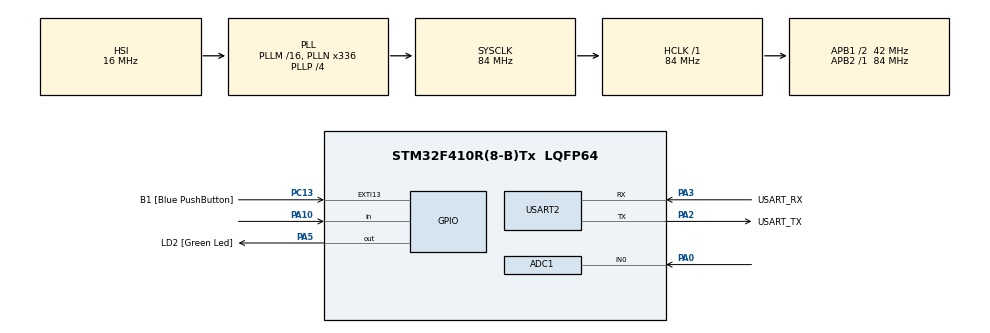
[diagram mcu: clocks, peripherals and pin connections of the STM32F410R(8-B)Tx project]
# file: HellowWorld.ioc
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ADC1.Channel-2\#ChannelRegularConversion=ADC_CHANNEL_0
ADC1.NbrOfConversionFlag=1
ADC1.Rank-2\#ChannelRegularConversion=1
ADC1.SamplingTime-2\#ChannelRegularConversion=ADC_SAMPLETIME_3CYCLES
ADC1.master=1
Mcu.Family=STM32F4
Mcu.Name=STM32F410R(8-B)Tx
Mcu.Package=LQFP64
NVIC.PriorityGroup=NVIC_PRIORITYGROUP_0
PA0-WKUP.Signal=ADCx_IN0
PA10.Signal=GPIO_Input
PA13.GPIO_Label=TMS
PA13.Mode=Serial_Wire
PA13.Signal=SYS_JTMS-SWDIO
PA14.GPIO_Label=TCK
PA14.Mode=Serial_Wire
PA14.Signal=SYS_JTCK-SWCLK
PA2.GPIO_Label=USART_TX
PA2.Mode=Asynchronous
PA2.Signal=USART2_TX
PA3.GPIO_Label=USART_RX
PA3.Mode=Asynchronous
PA3.Signal=USART2_RX
PA5.GPIO_Label=LD2 [Green Led]
PA5.Signal=GPIO_Output
PB3.GPIO_Label=SWO
PB3.Signal=SYS_JTDO-SWO
PC13-ANTI_TAMP.GPIO_Label=B1 [Blue PushButton]
PC13-ANTI_TAMP.GPIO_ModeDefaultEXTI=GPIO_MODE_IT_FALLING
PC13-ANTI_TAMP.Signal=GPXTI13
PC14-OSC32_IN.Mode=LSE-External-Oscillator
PC14-OSC32_IN.Signal=RCC_OSC32_IN
PC15-OSC32_OUT.Mode=LSE-External-Oscillator
PC15-OSC32_OUT.Signal=RCC_OSC32_OUT
PH0\ -\ OSC_IN.Mode=HSE-External-Clock-Source
PH0\ -\ OSC_IN.Signal=RCC_OSC_IN
PH1\ -\ OSC_OUT.Mode=HSE-External-Clock-Source
PH1\ -\ OSC_OUT.Signal=RCC_OSC_OUT
ProjectManager.HeapSize=0x200
ProjectManager.StackSize=0x400
ProjectManager.TargetToolchain=STM32CubeIDE
RCC.48MHZClocksFreq_Value=84000000
RCC.AHBFreq_Value=84000000
RCC.APB1CLKDivider=RCC_HCLK_DIV2
RCC.APB1Freq_Value=42000000
RCC.APB1TimFreq_Value=84000000
RCC.APB2Freq_Value=84000000
RCC.APB2TimFreq_Value=84000000
RCC.CortexFreq_Value=84000000
RCC.FLatency-AdvancedSettings=FLASH_LATENCY_2
RCC.HCLKFreq_Value=84000000
RCC.HSE_VALUE=8000000
RCC.HSI_VALUE=16000000
RCC.PLLN=336
RCC.PLLP=RCC_PLLP_DIV4
RCC.SYSCLKFreq_VALUE=84000000
RCC.SYSCLKSource=RCC_SYSCLKSOURCE_PLLCLK
RCC.VCOOutputFreq_Value=336000000
SH.ADCx_IN0.0=ADC1_IN0,IN0
TIM1.Period=65535 -1
TIM1.Prescaler=83
USART2.VirtualMode=VM_ASYNC
VP_TIM1_VS_ClockSourceINT.Mode=Internal
board=NUCLEO-F410RB

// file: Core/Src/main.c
/* USER CODE BEGIN Header */
/**
  ******************************************************************************
  * @file           : main.c
  * @brief          : Main program body
  ******************************************************************************
  * @attention
  *
  * Copyright (c) 2021 STMicroelectronics.
  * All rights reserved.
  *
  * This software is licensed under terms that can be found in the LICENSE file
  * in the root directory of this software component.
  * If no LICENSE file comes with this software, it is provided AS-IS.
  *
  ******************************************************************************
  */
/* USER CODE END Header */
#include "main.h"

ADC_HandleTypeDef hadc1;

TIM_HandleTypeDef htim1;

UART_HandleTypeDef huart2;

/* USER CODE BEGIN PV */
uint32_t m_sysclkRatio;
float calibration =  15.590576 + 7;
/* USER CODE END PV */

void SystemClock_Config(void);
static void MX_GPIO_Init(void);
static void MX_USART2_UART_Init(void);
static void MX_ADC1_Init(void);
static void MX_TIM1_Init(void);

/* USER CODE BEGIN 0 */
#ifdef __GNUC__
/* With GCC, small printf (option LD Linker->Libraries->Small printf
   set to 'Yes') calls __io_putchar() */
#define PUTCHAR_PROTOTYPE int __io_putchar(int ch)
#else
#define PUTCHAR_PROTOTYPE int fputc(int ch, FILE *f)
#endif /* __GNUC__ */

/* USER CODE END 0 */

int main(void)
{
  /* USER CODE BEGIN 1 */
	uint8_t TempSensorPresence = 0;
	int voltage = 0;
	float PhSensorVal = 0;
	uint32_t timeVal=0, timeVal2 = 0;
  /* USER CODE END 1 */

  /* MCU Configuration--------------------------------------------------------*/

  /* Reset of all peripherals, Initializes the Flash interface and the Systick. */
  HAL_Init();

  /* Configure the system clock */
  SystemClock_Config();

  /* Initialize all configured peripherals */
  MX_GPIO_Init();
  MX_USART2_UART_Init();
  MX_ADC1_Init();
  MX_TIM1_Init();
  /* USER CODE BEGIN 2 */
  printf("main handler \r\n");
  HAL_TIM_Base_Start(&htim1);
  /* USER CODE END 2 */

  /* Infinite loop */
  while (1)
  {

    /* USER CODE BEGIN 3 */
	  HAL_ADC_Start(&hadc1);
	  HAL_ADC_PollForConversion(&hadc1,100);
	  voltage = HAL_ADC_GetValue(&hadc1);
	  PhSensorVal = voltage * (5.0 / 1023.0);

	  printf("PhSensorVal = %d, %f \r\n",voltage , PhSensorVal);

	  __HAL_TIM_SET_COUNTER(&htim1, 0);

	  timeVal =  __HAL_TIM_GET_COUNTER(&htim1) * 1;
	  HAL_Delay(1);
	  timeVal2 =  __HAL_TIM_GET_COUNTER(&htim1) *1;
	  printf("timeVal after 1000ms = %ld \r\n",((timeVal2 -timeVal)) );
	  __HAL_TIM_SET_COUNTER(&htim1, 0);
	  timeVal =  __HAL_TIM_GET_COUNTER(&htim1) * 1;
	  HAL_Delay(1);
	  timeVal2 =  __HAL_TIM_GET_COUNTER(&htim1) * 1;
	  printf("timeVal after 100ms = %ld \r\n",((timeVal2 -timeVal)) );

	  HAL_Delay(1000);

  }
  /* USER CODE END 3 */
}

void SystemClock_Config(void)
{
  RCC_OscInitTypeDef RCC_OscInitStruct = {0};
  RCC_ClkInitTypeDef RCC_ClkInitStruct = {0};

  /** Configure the main internal regulator output voltage
  */
  __HAL_RCC_PWR_CLK_ENABLE();
  __HAL_PWR_VOLTAGESCALING_CONFIG(PWR_REGULATOR_VOLTAGE_SCALE1);
  /** Initializes the RCC Oscillators according to the specified parameters
  * in the RCC_OscInitTypeDef structure.
  */
  RCC_OscInitStruct.OscillatorType = RCC_OSCILLATORTYPE_HSI;
  RCC_OscInitStruct.HSIState = RCC_HSI_ON;
  RCC_OscInitStruct.HSICalibrationValue = RCC_HSICALIBRATION_DEFAULT;
  RCC_OscInitStruct.PLL.PLLState = RCC_PLL_ON;
  RCC_OscInitStruct.PLL.PLLSource = RCC_PLLSOURCE_HSI;
  RCC_OscInitStruct.PLL.PLLM = 16;
  RCC_OscInitStruct.PLL.PLLN = 336;
  RCC_OscInitStruct.PLL.PLLP = RCC_PLLP_DIV4;
  RCC_OscInitStruct.PLL.PLLQ = 4;
  RCC_OscInitStruct.PLL.PLLR = 2;
  if (HAL_RCC_OscConfig(&RCC_OscInitStruct) != HAL_OK)
  {
    Error_Handler();
  }
  /** Initializes the CPU, AHB and APB buses clocks
  */
  RCC_ClkInitStruct.ClockType = RCC_CLOCKTYPE_HCLK|RCC_CLOCKTYPE_SYSCLK
                              |RCC_CLOCKTYPE_PCLK1|RCC_CLOCKTYPE_PCLK2;
  RCC_ClkInitStruct.SYSCLKSource = RCC_SYSCLKSOURCE_PLLCLK;
  RCC_ClkInitStruct.AHBCLKDivider = RCC_SYSCLK_DIV1;
  RCC_ClkInitStruct.APB1CLKDivider = RCC_HCLK_DIV2;
  RCC_ClkInitStruct.APB2CLKDivider = RCC_HCLK_DIV1;

  if (HAL_RCC_ClockConfig(&RCC_ClkInitStruct, FLASH_LATENCY_2) != HAL_OK)
  {
    Error_Handler();
  }
}

static void MX_ADC1_Init(void)
{

  ADC_ChannelConfTypeDef sConfig = {0};

  /** Configure the global features of the ADC (Clock, Resolution, Data Alignment and number of conversion)
  */
  hadc1.Instance = ADC1;
  hadc1.Init.ClockPrescaler = ADC_CLOCK_SYNC_PCLK_DIV4;
  hadc1.Init.Resolution = ADC_RESOLUTION_12B;
  hadc1.Init.ScanConvMode = DISABLE;
  hadc1.Init.ContinuousConvMode = DISABLE;
  hadc1.Init.DiscontinuousConvMode = DISABLE;
  hadc1.Init.ExternalTrigConvEdge = ADC_EXTERNALTRIGCONVEDGE_NONE;
  hadc1.Init.ExternalTrigConv = ADC_SOFTWARE_START;
  hadc1.Init.DataAlign = ADC_DATAALIGN_RIGHT;
  hadc1.Init.NbrOfConversion = 1;
  hadc1.Init.DMAContinuousRequests = DISABLE;
  hadc1.Init.EOCSelection = ADC_EOC_SINGLE_CONV;
  if (HAL_ADC_Init(&hadc1) != HAL_OK)
  {
    Error_Handler();
  }
  /** Configure for the selected ADC regular channel its corresponding rank in the sequencer and its sample time.
  */
  sConfig.Channel = ADC_CHANNEL_0;
  sConfig.Rank = 1;
  sConfig.SamplingTime = ADC_SAMPLETIME_3CYCLES;
  if (HAL_ADC_ConfigChannel(&hadc1, &sConfig) != HAL_OK)
  {
    Error_Handler();
  }

}

static void MX_TIM1_Init(void)
{

  /* USER CODE BEGIN TIM1_Init 0 */
	RCC_ClkInitTypeDef clkconfig;
	uint32_t pFLatency;
	uint32_t uwTimclock, uwAPB1Prescaler = 0U;
  /* USER CODE END TIM1_Init 0 */

  TIM_ClockConfigTypeDef sClockSourceConfig = {0};
  TIM_MasterConfigTypeDef sMasterConfig = {0};

  htim1.Instance = TIM1;
  htim1.Init.Prescaler = 83;
  htim1.Init.CounterMode = TIM_COUNTERMODE_UP;
  htim1.Init.Period = 65535 -1;
  htim1.Init.ClockDivision = TIM_CLOCKDIVISION_DIV1;
  htim1.Init.RepetitionCounter = 0;
  htim1.Init.AutoReloadPreload = TIM_AUTORELOAD_PRELOAD_DISABLE;
  if (HAL_TIM_Base_Init(&htim1) != HAL_OK)
  {
    Error_Handler();
  }
  sClockSourceConfig.ClockSource = TIM_CLOCKSOURCE_INTERNAL;
  if (HAL_TIM_ConfigClockSource(&htim1, &sClockSourceConfig) != HAL_OK)
  {
    Error_Handler();
  }
  sMasterConfig.MasterOutputTrigger = TIM_TRGO_RESET;
  sMasterConfig.MasterSlaveMode = TIM_MASTERSLAVEMODE_DISABLE;
  if (HAL_TIMEx_MasterConfigSynchronization(&htim1, &sMasterConfig) != HAL_OK)
  {
    Error_Handler();
  }
  /* USER CODE BEGIN TIM1_Init 2 */

  /* Get clock configuration */
    HAL_RCC_GetClockConfig(&clkconfig, &pFLatency);

   /* TIM1 is on APB1 bus */
   uwAPB1Prescaler = clkconfig.APB2CLKDivider;

   if (uwAPB1Prescaler == RCC_HCLK_DIV1)
	   uwTimclock = HAL_RCC_GetPCLK1Freq();
   else
	   uwTimclock = 2 * HAL_RCC_GetPCLK1Freq();

   m_sysclkRatio = HAL_RCC_GetHCLKFreq() / uwTimclock;
   printf("uwAPB1Prescaler = %d,  uwTimclock = %d , m_sysclkRatio = %d \r\n", uwAPB1Prescaler, uwTimclock, m_sysclkRatio);

  /* USER CODE END TIM1_Init 2 */

}

static void MX_USART2_UART_Init(void)
{

  huart2.Instance = USART2;
  huart2.Init.BaudRate = 115200;
  huart2.Init.WordLength = UART_WORDLENGTH_8B;
  huart2.Init.StopBits = UART_STOPBITS_1;
  huart2.Init.Parity = UART_PARITY_NONE;
  huart2.Init.Mode = UART_MODE_TX_RX;
  huart2.Init.HwFlowCtl = UART_HWCONTROL_NONE;
  huart2.Init.OverSampling = UART_OVERSAMPLING_16;
  if (HAL_UART_Init(&huart2) != HAL_OK)
  {
    Error_Handler();
  }

}

static void MX_GPIO_Init(void)
{
  GPIO_InitTypeDef GPIO_InitStruct = {0};

  /* GPIO Ports Clock Enable */
  __HAL_RCC_GPIOC_CLK_ENABLE();
  __HAL_RCC_GPIOH_CLK_ENABLE();
  __HAL_RCC_GPIOA_CLK_ENABLE();
  __HAL_RCC_GPIOB_CLK_ENABLE();

  /*Configure GPIO pin Output Level */
  HAL_GPIO_WritePin(LD2_GPIO_Port, LD2_Pin, GPIO_PIN_RESET);

  /*Configure GPIO pin : B1_Pin */
  GPIO_InitStruct.Pin = B1_Pin;
  GPIO_InitStruct.Mode = GPIO_MODE_IT_FALLING;
  GPIO_InitStruct.Pull = GPIO_NOPULL;
  HAL_GPIO_Init(B1_GPIO_Port, &GPIO_InitStruct);

  /*Configure GPIO pin : LD2_Pin */
  GPIO_InitStruct.Pin = LD2_Pin;
  GPIO_InitStruct.Mode = GPIO_MODE_OUTPUT_PP;
  GPIO_InitStruct.Pull = GPIO_NOPULL;
  GPIO_InitStruct.Speed = GPIO_SPEED_FREQ_LOW;
  HAL_GPIO_Init(LD2_GPIO_Port, &GPIO_InitStruct);

  /*Configure GPIO pin : PA10 */
  GPIO_InitStruct.Pin = GPIO_PIN_10;
  GPIO_InitStruct.Mode = GPIO_MODE_INPUT;
  GPIO_InitStruct.Pull = GPIO_NOPULL;
  HAL_GPIO_Init(GPIOA, &GPIO_InitStruct);

}

/* USER CODE BEGIN 4 */
/**
  * @brief  Retargets the C library printf function to the USART.
  * @param  None
  * @retval None
  */
PUTCHAR_PROTOTYPE
{
  /* Place your implementation of fputc here */
  /* e.g. write a character to the USART3 and Loop until the end of transmission */
  HAL_UART_Transmit(&huart2, (uint8_t *)&ch, 1, 0xFFFF);

  return ch;
}

void delay_us (uint16_t time)
{
	/* change your code here for the delay in microseconds */
	uint16_t ticksNeeded = time*12;
	__HAL_TIM_SET_COUNTER(&htim1, 0);
	while ((__HAL_TIM_GET_COUNTER(&htim1))<ticksNeeded);
}
/* USER CODE END 4 */

void Error_Handler(void)
{
  /* USER CODE BEGIN Error_Handler_Debug */
  /* User can add his own implementation to report the HAL error return state */
  __disable_irq();
  printf("error handler \n");
  while (1)
  {
  }
  /* USER CODE END Error_Handler_Debug */
}
